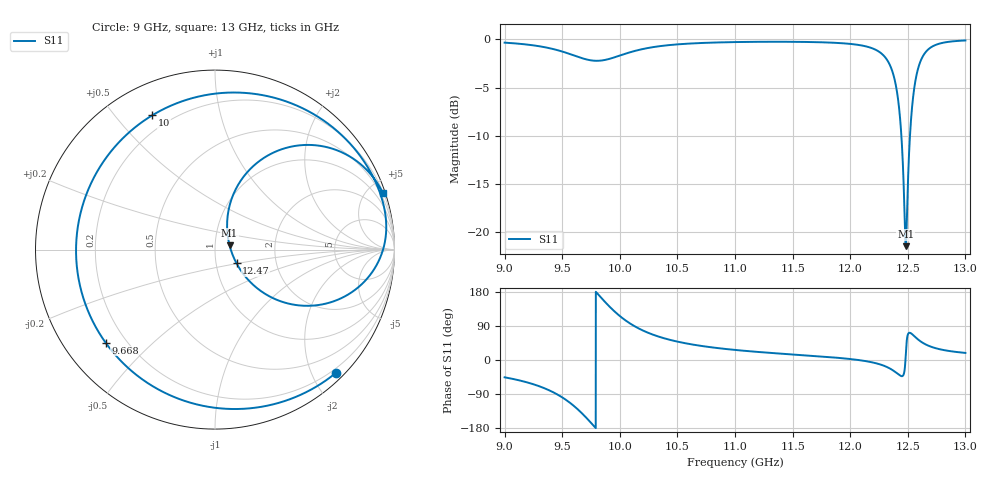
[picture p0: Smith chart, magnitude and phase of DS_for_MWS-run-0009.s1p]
! TOUCHSTONE file generated by CST DESIGN STUDIO
! Date and time: Tue Feb  4 17:39:24 2025
! Project name: C:\Work\MatlabApps\UnitCellOptimizationMatlab\CST\unitcell.cst
! Tree item: Tasks\Sweep1\SPara1\S-Parameters
! Header version: 2024
! Port assignment regex: !\s*Touchstone port\s*([0-9]+)\s*=\s*(CST MWS port|CST DES external port|CST DES block port)\s*(.+)\s* \(\"(.*)\"\)(\s*mode\s*([0-9]+))?.*
! Touchstone port assignment:
! Touchstone port 1 = CST DES external port 1 ("")
# GHz S MA R 50
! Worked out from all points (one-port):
!   4001 points, 9 GHz to 13 GHz, reference 50 ohm
!   lowest |S11| = -21.5 dB at 12.48 GHz (marker M1), VSWR 1.18, Z = 58.7 + j2.91 ohm
!   |S11| at or under -10 dB: 12.44 GHz to 12.52 GHz (74.66 MHz wide, 0.598 % of centre)
!   S11 on the Smith chart (normalised r, x): 9 GHz: 0.13, -2.37; 9.668 GHz: 0.13, -0.36; 10 GHz: 0.13, +0.63; 12.47 GHz: 1.26, -0.20; 13 GHz: 0.24, +6.07
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9  0.9617 -45.7
9.272  0.927 -66.2
9.5  0.865 -98.6
9.587  0.8313 -117.6
9.668  0.8001 -139.7
9.749  0.7784 -165.4
9.822  0.7749 169.8
9.916  0.7942 139.3
10  0.8242 116.1
10.004  0.8258 115.1
10.108  0.8637 92.8
10.241  0.9013 72.4
10.5  0.9421 48.5
11  0.9683 26.6
11.5  0.9714 14.6
12  0.9475 2.6
12.235  0.8744 -9.4
12.362  0.6934 -25.5
12.427  0.4253 -39.8
12.447  0.2976 -42.7
12.469  0.1423 -32.6
12.483  0.08448 17.0
12.5  0.172 66.8
12.52  0.3243 71.6
12.541  0.4701 67.2
12.609  0.7666 49.5
12.747  0.9387 30.7
13  0.9872 18.7
